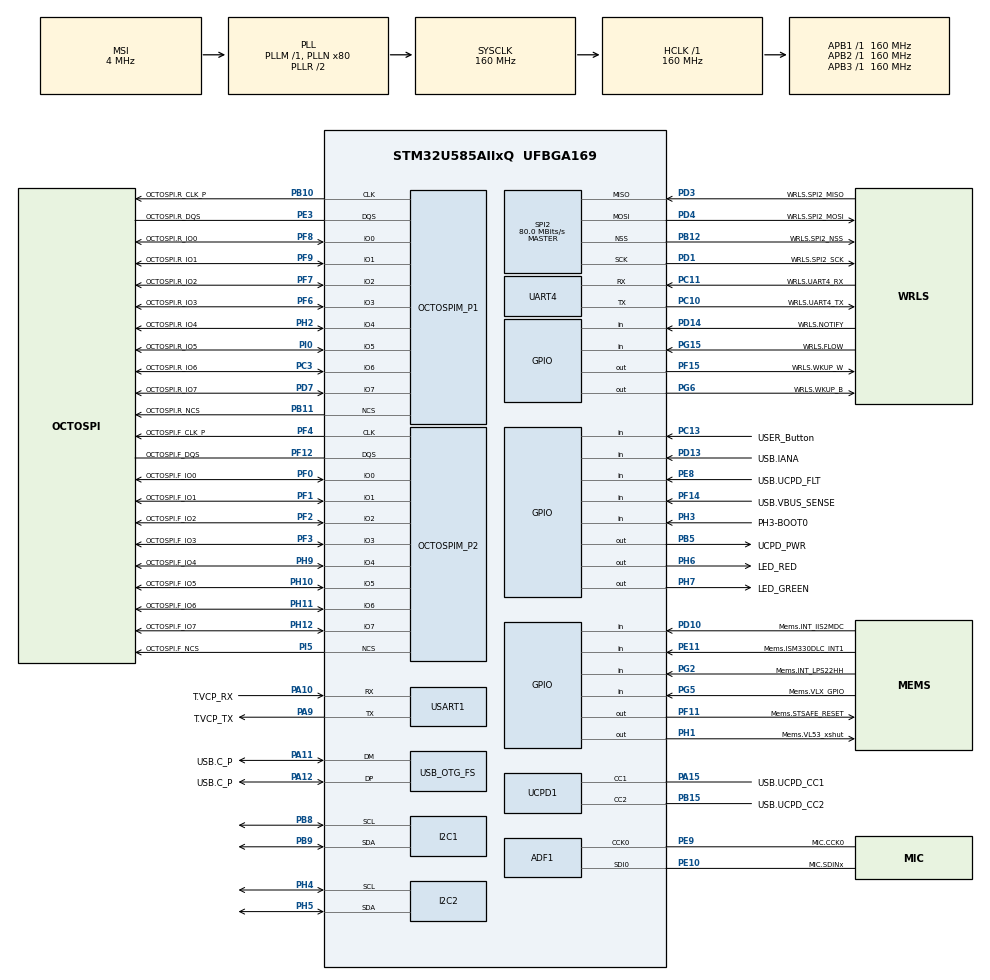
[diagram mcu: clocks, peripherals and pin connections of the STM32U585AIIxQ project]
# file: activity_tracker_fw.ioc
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CORTEX_M33_NS.userName=CORTEX_M33
I2C1.Timing=0x30909DEC
I2C2.Timing=0x30909DEC
Mcu.Family=STM32U5
Mcu.Name=STM32U585AIIxQ
Mcu.Package=UFBGA169
NVIC.PriorityGroup=NVIC_PRIORITYGROUP_4
OCTOSPI1.ChipSelectBoundary=10
OCTOSPI1.ClockPrescaler=2
OCTOSPI1.DelayBlockBypass=HAL_OSPI_DELAY_BLOCK_USED
OCTOSPI1.DelayHoldQuarterCycle=HAL_OSPI_DHQC_ENABLE
OCTOSPI1.DeviceSize=23
OCTOSPI1.MemoryType=HAL_OSPI_MEMTYPE_APMEMORY
OCTOSPI1.Refresh=100
OCTOSPI2.ChipSelectBoundary=0
OCTOSPI2.ChipSelectHighTime=2
OCTOSPI2.ClockPrescaler=4
OCTOSPI2.DelayBlockBypass=HAL_OSPI_DELAY_BLOCK_USED
OCTOSPI2.DelayHoldQuarterCycle=HAL_OSPI_DHQC_ENABLE
OCTOSPI2.DeviceSize=26
OCTOSPI2.FifoThreshold=4
OCTOSPI2.MemoryType=HAL_OSPI_MEMTYPE_MACRONIX
PA10.GPIO_Label=T.VCP_RX
PA10.Mode=Asynchronous
PA10.Signal=USART1_RX
PA11.GPIO_Label=USB.C_P
PA11.Mode=Device_Only
PA11.Signal=USB_OTG_FS_DM
PA12.GPIO_Label=USB.C_P
PA12.Mode=Device_Only
PA12.Signal=USB_OTG_FS_DP
PA13\ (JTMS/SWDIO).GPIO_Label=T.SWDIO
PA13\ (JTMS/SWDIO).Mode=Trace_Asynchronous_SW
PA13\ (JTMS/SWDIO).Signal=DEBUG_JTMS-SWDIO
PA14\ (JTCK/SWCLK).GPIO_Label=T.SWCLK
PA14\ (JTCK/SWCLK).Mode=Trace_Asynchronous_SW
PA14\ (JTCK/SWCLK).Signal=DEBUG_JTCK-SWCLK
PA15\ (JTDI).GPIO_Label=USB.UCPD_CC1
PA15\ (JTDI).Mode=Dual_Role_AllSignals
PA15\ (JTDI).Signal=UCPD1_CC1
PA9.GPIO_Label=T.VCP_TX
PA9.Mode=Asynchronous
PA9.Signal=USART1_TX
PB1.GPIO_Label=MIC.SDIN0
PB1.Signal=MDF1_SDI0
PB10.GPIO_Label=OCTOSPI.R_CLK_P
PB10.Mode=O1_P1_CLK
PB10.Signal=OCTOSPIM_P1_CLK
PB11.GPIO_Label=OCTOSPI.R_NCS
PB11.Mode=OCTOSPI1_Port1_NCS
PB11.Signal=OCTOSPIM_P1_NCS
PB12.GPIO_Label=WRLS.SPI2_NSS
PB12.Mode=NSS_Signal_Hard_Output
PB12.Signal=SPI2_NSS
PB15.GPIO_Label=USB.UCPD_CC2
PB15.Mode=Dual_Role_AllSignals
PB15.Signal=UCPD1_CC2
PB3\ (JTDO/TRACESWO).GPIO_Label=T.SWO
PB3\ (JTDO/TRACESWO).Mode=Trace_Asynchronous_SW
PB3\ (JTDO/TRACESWO).Signal=DEBUG_JTDO-SWO
PB5.GPIO_Label=UCPD_PWR
PB5.Signal=GPIO_Output
PB8.Mode=I2C
PB8.Signal=I2C1_SCL
PB9.Mode=I2C
PB9.Signal=I2C1_SDA
PC10.GPIO_Label=WRLS.UART4_TX
PC10.Mode=Asynchronous
PC10.Signal=UART4_TX
PC11.GPIO_Label=WRLS.UART4_RX
PC11.Mode=Asynchronous
PC11.Signal=UART4_RX
PC13.GPIO_Label=USER_Button
PC13.Signal=GPIO_Input
PC14-OSC32_IN\ (PC14).GPIO_Label=PC14-OSC32_IN
PC14-OSC32_IN\ (PC14).Mode=LSE-External-Oscillator
PC14-OSC32_IN\ (PC14).Signal=RCC_OSC32_IN
PC15-OSC32_OUT\ (PC15).GPIO_Label=PC15-OSC32_OUT
PC15-OSC32_OUT\ (PC15).Mode=LSE-External-Oscillator
PC15-OSC32_OUT\ (PC15).Signal=RCC_OSC32_OUT
PC3.GPIO_Label=OCTOSPI.R_IO6
PC3.Mode=OCTOSPI1_IOH_Port1H
PC3.Signal=OCTOSPIM_P1_IO6
PD1.GPIO_Label=WRLS.SPI2_SCK
PD1.Mode=Full_Duplex_Master
PD1.Signal=SPI2_SCK
PD10.GPIO_Label=Mems.INT_IIS2MDC
PD10.Signal=GPIO_Input
PD13.GPIO_Label=USB.IANA
PD13.Signal=GPIO_Input
PD14.GPIO_Label=WRLS.NOTIFY
PD14.Signal=GPIO_Input
PD3.GPIO_Label=WRLS.SPI2_MISO
PD3.Mode=Full_Duplex_Master
PD3.Signal=SPI2_MISO
PD4.GPIO_Label=WRLS.SPI2_MOSI
PD4.Mode=Full_Duplex_Master
PD4.Signal=SPI2_MOSI
PD7.GPIO_Label=OCTOSPI.R_IO7
PD7.Mode=OCTOSPI1_IOH_Port1H
PD7.Signal=OCTOSPIM_P1_IO7
PE10.GPIO_Label=MIC.SDINx
PE10.Mode=MOD_ADF_CCK
PE10.Signal=ADF1_SDI0
PE11.GPIO_Label=Mems.ISM330DLC_INT1
PE11.Signal=GPIO_Input
PE3.GPIO_Label=OCTOSPI.R_DQS
PE3.Mode=OCTOSPI1_Port1_DQS
PE3.Signal=OCTOSPIM_P1_DQS
PE8.GPIO_Label=USB.UCPD_FLT
PE8.Signal=GPIO_Input
PE9.GPIO_Label=MIC.CCK0
PE9.Mode=MOD_MDF_CCK0
PE9.Signal=ADF1_CCK0
PF0.GPIO_Label=OCTOSPI.F_IO0
PF0.Mode=OCTOSPI2_IOL_Port2L
PF0.Signal=OCTOSPIM_P2_IO0
PF1.GPIO_Label=OCTOSPI.F_IO1
PF1.Mode=OCTOSPI2_IOL_Port2L
PF1.Signal=OCTOSPIM_P2_IO1
PF10.GPIO_Label=MIC.CCK1
PF10.Signal=MDF1_CCK1
PF11.GPIO_Label=Mems.STSAFE_RESET
PF11.Signal=GPIO_Output
PF12.GPIO_Label=OCTOSPI.F_DQS
PF12.Mode=OCTOSPI2_Port2_DQS
PF12.Signal=OCTOSPIM_P2_DQS
PF14.GPIO_Label=USB.VBUS_SENSE
PF14.Signal=GPIO_Input
PF15.GPIO_Label=WRLS.WKUP_W
PF15.Signal=GPIO_Output
PF2.GPIO_Label=OCTOSPI.F_IO2
PF2.Mode=OCTOSPI2_IOL_Port2L
PF2.Signal=OCTOSPIM_P2_IO2
PF3.GPIO_Label=OCTOSPI.F_IO3
PF3.Mode=OCTOSPI2_IOL_Port2L
PF3.Signal=OCTOSPIM_P2_IO3
PF4.GPIO_Label=OCTOSPI.F_CLK_P
PF4.Mode=O2_P2_CLK
PF4.Signal=OCTOSPIM_P2_CLK
PF6.GPIO_Label=OCTOSPI.R_IO3
PF6.Mode=OCTOSPI1_IOL_Port1L
PF6.Signal=OCTOSPIM_P1_IO3
PF7.GPIO_Label=OCTOSPI.R_IO2
PF7.Mode=OCTOSPI1_IOL_Port1L
PF7.Signal=OCTOSPIM_P1_IO2
PF8.GPIO_Label=OCTOSPI.R_IO0
PF8.Mode=OCTOSPI1_IOL_Port1L
PF8.Signal=OCTOSPIM_P1_IO0
PF9.GPIO_Label=OCTOSPI.R_IO1
PF9.Mode=OCTOSPI1_IOL_Port1L
PF9.Signal=OCTOSPIM_P1_IO1
PG15.GPIO_Label=WRLS.FLOW
PG15.Signal=GPIO_Input
PG2.GPIO_Label=Mems.INT_LPS22HH
PG2.Signal=GPIO_Input
PG5.GPIO_Label=Mems.VLX_GPIO
PG5.Signal=GPIO_Input
PG6.GPIO_Label=WRLS.WKUP_B
PG6.Signal=GPIO_Output
PH1-OSC_OUT\ (PH1).GPIO_Label=Mems.VL53_xshut
PH1-OSC_OUT\ (PH1).Signal=GPIO_Output
PH10.GPIO_Label=OCTOSPI.F_IO5
PH10.Mode=OCTOSPI2_IOH_Port2H
PH10.Signal=OCTOSPIM_P2_IO5
PH11.GPIO_Label=OCTOSPI.F_IO6
PH11.Mode=OCTOSPI2_IOH_Port2H
PH11.Signal=OCTOSPIM_P2_IO6
PH12.GPIO_Label=OCTOSPI.F_IO7
PH12.Mode=OCTOSPI2_IOH_Port2H
PH12.Signal=OCTOSPIM_P2_IO7
PH2.GPIO_Label=OCTOSPI.R_IO4
PH2.Mode=OCTOSPI1_IOH_Port1H
PH2.Signal=OCTOSPIM_P1_IO4
PH3-BOOT0.GPIO_Label=PH3-BOOT0
PH3-BOOT0.Signal=GPIO_Input
PH4.Mode=I2C
PH4.Signal=I2C2_SCL
PH5.Mode=I2C
PH5.Signal=I2C2_SDA
PH6.GPIO_Label=LED_RED
PH6.Signal=GPIO_Output
PH7.GPIO_Label=LED_GREEN
PH7.Signal=GPIO_Output
PH9.GPIO_Label=OCTOSPI.F_IO4
PH9.Mode=OCTOSPI2_IOH_Port2H
PH9.Signal=OCTOSPIM_P2_IO4
PI0.GPIO_Label=OCTOSPI.R_IO5
PI0.Mode=OCTOSPI1_IOH_Port1H
PI0.Signal=OCTOSPIM_P1_IO5
PI5.GPIO_Label=OCTOSPI.F_NCS
PI5.Mode=OCTOSPI2_Port2_NCS
PI5.Signal=OCTOSPIM_P2_NCS
PWR.PowerMode=PWR_SMPS_SUPPLY
ProjectManager.HeapSize=0x200
ProjectManager.StackSize=0x400
ProjectManager.TargetToolchain=STM32CubeIDE
RCC.ADCFreq_Value=16000000
RCC.AHBFreq_Value=160000000
RCC.APB1Freq_Value=160000000
RCC.APB1TimFreq_Value=160000000
RCC.APB2Freq_Value=160000000
RCC.APB2TimFreq_Value=160000000
RCC.APB3Freq_Value=160000000
RCC.CortexFreq_Value=160000000
RCC.DACCLockSelectionVirtual=RCC_DAC1CLKSOURCE_LSI
RCC.EPOD_VALUE=4000000
RCC.HCLKFreq_Value=160000000
RCC.HSE_VALUE=16000000
RCC.HSI48_VALUE=48000000
RCC.HSI_VALUE=16000000
RCC.LSIDIV_VALUE=32000
RCC.MSI_VALUE=4000000
RCC.PLLN=80
RCC.SYSCLKFreq_VALUE=160000000
RCC.SYSCLKSource=RCC_SYSCLKSOURCE_PLLCLK
RCC.USBFreq_Value=48000000
RCC.VCOOutputFreq_Value=320000000
SPI2.CalculateBaudRate=80.0 MBits/s
SPI2.Direction=SPI_DIRECTION_2LINES
SPI2.Mode=SPI_MODE_MASTER
SPI2.VirtualNSS=VM_NSSHARD
SPI2.VirtualType=VM_MASTER
USART1.VirtualMode-Asynchronous=VM_ASYNC
USB_OTG_FS.VirtualMode=Device_Only
VP_ICACHE_VS_ICACHE.Mode=DirectMappedCache
VP_LPBAMQUEUE_VS_QUEUE.Mode=QUEUEMODE
VP_LPBAM_VS_SIG1.Mode=SmartRun
VP_LPBAM_VS_SIG4.Mode=LPDMA1
VP_OCTOSPI1_VS_octo.Mode=octo_mode
VP_OCTOSPI2_VS_octo.Mode=octo_mode
VP_PWR_VS_DBSignals.Mode=DisableDeadBatterySignals
VP_PWR_VS_LPOM.Mode=PowerOptimisation
VP_PWR_VS_SECSignals.Mode=Security/Privilege
board=B-U585I-IOT02A

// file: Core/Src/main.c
/* USER CODE BEGIN Header */
/**
 ******************************************************************************
 * @file           : main.c
 * @brief          : Main program body
 ******************************************************************************
 * @attention
 *
 * Copyright (c) 2026 STMicroelectronics.
 * All rights reserved.
 *
 * This software is licensed under terms that can be found in the LICENSE file
 * in the root directory of this software component.
 * If no LICENSE file comes with this software, it is provided AS-IS.
 *
 ******************************************************************************
 */
/* USER CODE END Header */
#include "main.h"

/* USER CODE BEGIN Includes */
#include <stdio.h>
#include "ism330dhcx_reg.h"
/* USER CODE END Includes */

MDF_HandleTypeDef AdfHandle0;
MDF_FilterConfigTypeDef AdfFilterConfig0;

I2C_HandleTypeDef hi2c1;
I2C_HandleTypeDef hi2c2;

OSPI_HandleTypeDef hospi1;
OSPI_HandleTypeDef hospi2;

SPI_HandleTypeDef hspi2;

UART_HandleTypeDef huart4;
UART_HandleTypeDef huart1;

PCD_HandleTypeDef hpcd_USB_OTG_FS;

/* USER CODE BEGIN PV */
#define IMU_I2C   hi2c2
#define IMU_ADDR  (0x6B << 1)

static stmdev_ctx_t imu_ctx;

/* Sampling is paced by the sensor's own data-ready line (INT1 -> PE11).
   The ISR only bumps imu_drdy_count; imu_drdy_served is what the main loop
   has already consumed, so the gap between them exposes samples we did not
   keep up with. A 32-bit load is atomic on Cortex-M33, no locking needed. */
static volatile uint32_t imu_drdy_count = 0;
static uint32_t imu_drdy_served = 0;
static uint32_t imu_missed = 0;

static int32_t imu_write(void *h, uint8_t reg, uint8_t *buf, uint16_t len) {
	return (HAL_I2C_Mem_Write(&IMU_I2C, IMU_ADDR, reg, I2C_MEMADD_SIZE_8BIT,
			buf, len, 100) == HAL_OK) ? 0 : -1;
}

static int32_t imu_read(void *h, uint8_t reg, uint8_t *buf, uint16_t len) {
	return (HAL_I2C_Mem_Read(&IMU_I2C, IMU_ADDR, reg, I2C_MEMADD_SIZE_8BIT, buf,
			len, 100) == HAL_OK) ? 0 : -1;
}

static void imu_init(void) {
	uint8_t whoami = 0, rst = 1;

	imu_ctx.write_reg = imu_write;
	imu_ctx.read_reg = imu_read;
	imu_ctx.mdelay = HAL_Delay;
	imu_ctx.handle = NULL;

	HAL_Delay(15);
	ism330dhcx_device_id_get(&imu_ctx, &whoami);
	printf("WHO_AM_I = 0x%02X (expected 0x%02X)\r\n", whoami, ISM330DHCX_ID);
	if (whoami != ISM330DHCX_ID) {
		printf("IMU not found\r\n");
		Error_Handler();
	}

	ism330dhcx_reset_set(&imu_ctx, PROPERTY_ENABLE);
	do {
		ism330dhcx_reset_get(&imu_ctx, &rst);
	} while (rst);

	ism330dhcx_block_data_update_set(&imu_ctx, PROPERTY_ENABLE);
	ism330dhcx_xl_full_scale_set(&imu_ctx, ISM330DHCX_4g);
	ism330dhcx_gy_full_scale_set(&imu_ctx, ISM330DHCX_2000dps);
	ism330dhcx_xl_data_rate_set(&imu_ctx, ISM330DHCX_XL_ODR_26Hz);
	ism330dhcx_gy_data_rate_set(&imu_ctx, ISM330DHCX_GY_ODR_26Hz);

	/* Drive accelerometer data-ready out on INT1 (INT1_CTRL, int1_drdy_xl)
	   as a short pulse, which is what an edge-triggered EXTI line wants. */
	ism330dhcx_pin_int1_route_t int1_route;
	ism330dhcx_pin_int1_route_get(&imu_ctx, &int1_route);
	int1_route.int1_ctrl.int1_drdy_xl = PROPERTY_ENABLE;
	ism330dhcx_pin_int1_route_set(&imu_ctx, &int1_route);
	ism330dhcx_data_ready_mode_set(&imu_ctx, ISM330DHCX_DRDY_PULSED);
}

static void put_ms2(int32_t mm_s2)
{
	  if (mm_s2 < 0) { printf("-"); mm_s2 = -mm_s2; }
	  printf("%ld.%03ld", (long)(mm_s2 / 1000), (long)(mm_s2 % 1000));
}
/* USER CODE END PV */

void SystemClock_Config(void);
static void SystemPower_Config(void);
static void MX_GPIO_Init(void);
static void MX_ADF1_Init(void);
static void MX_I2C1_Init(void);
static void MX_I2C2_Init(void);
static void MX_ICACHE_Init(void);
static void MX_OCTOSPI1_Init(void);
static void MX_OCTOSPI2_Init(void);
static void MX_SPI2_Init(void);
static void MX_UART4_Init(void);
static void MX_USART1_UART_Init(void);
static void MX_UCPD1_Init(void);
static void MX_USB_OTG_FS_PCD_Init(void);

int main(void) {

	/* MCU Configuration--------------------------------------------------------*/

	/* Reset of all peripherals, Initializes the Flash interface and the Systick. */
	HAL_Init();

	/* Configure the System Power */
	SystemPower_Config();

	/* Configure the system clock */
	SystemClock_Config();

	/* Initialize all configured peripherals */
	MX_GPIO_Init();
	MX_ADF1_Init();
	MX_I2C1_Init();
	MX_I2C2_Init();
	MX_ICACHE_Init();
	MX_OCTOSPI1_Init();
	MX_OCTOSPI2_Init();
	MX_SPI2_Init();
	MX_UART4_Init();
	MX_USART1_UART_Init();
	MX_UCPD1_Init();
	MX_USB_OTG_FS_PCD_Init();
	/* USER CODE BEGIN 2 */
	setvbuf(stdout, NULL, _IONBF, 0);
	printf("Start\r\n");
	imu_init();

	/* Unmask the line only once the sensor is configured, so none of the
	   writes above can leave a stale edge pending. */
	__HAL_GPIO_EXTI_CLEAR_RISING_IT(Mems_ISM330DLC_INT1_Pin);
	HAL_NVIC_SetPriority(EXTI11_IRQn, 5, 0);
	HAL_NVIC_EnableIRQ(EXTI11_IRQn);

	printf("timestamp_ms,ax,ay,az,gx,gy,gz\r\n");
	/* USER CODE END 2 */

	/* Infinite loop */
	while (1) {

		/* USER CODE BEGIN 3 */
	    uint32_t drdy_now = imu_drdy_count;

	    if (drdy_now != imu_drdy_served) {
	      uint32_t pending = drdy_now - imu_drdy_served;
	      imu_drdy_served = drdy_now;

	      /* Only the newest sample is still in the output registers, so every
	         interrupt beyond the one we are about to read is a sample we lost.
	         Reported on its own line, which tools/log.py skips. */
	      if (pending > 1) {
	        imu_missed += pending - 1;
	        printf("# missed %lu\r\n", (unsigned long) imu_missed);
	      }

	      int16_t a_raw[3], g_raw[3];
	      int32_t a[3], g[3];
	      ism330dhcx_acceleration_raw_get(&imu_ctx, a_raw);
	      ism330dhcx_angular_rate_raw_get(&imu_ctx, g_raw);
	      for (int i = 0; i < 3; i++) {
	        a[i] = (int32_t)(ism330dhcx_from_fs4g_to_mg(a_raw[i]) * 9.80665f);
	        g[i] = (int32_t)ism330dhcx_from_fs2000dps_to_mdps(g_raw[i]);
	      }
	      printf("%lu,", HAL_GetTick());
	      put_ms2(a[0]); printf(",");
	      put_ms2(a[1]); printf(",");
	      put_ms2(a[2]); printf(",");
	      put_ms2(g[0]); printf(",");   /* mdps -> dps */
	      put_ms2(g[1]); printf(",");
	      put_ms2(g[2]); printf("\r\n");
	    }
	  }
	/* USER CODE END 3 */
}

void SystemClock_Config(void) {
	RCC_OscInitTypeDef RCC_OscInitStruct = { 0 };
	RCC_ClkInitTypeDef RCC_ClkInitStruct = { 0 };

	/** Configure the main internal regulator output voltage
	 */
	if (HAL_PWREx_ControlVoltageScaling(PWR_REGULATOR_VOLTAGE_SCALE1)
			!= HAL_OK) {
		Error_Handler();
	}

	/** Initializes the CPU, AHB and APB buses clocks
	 */
	RCC_OscInitStruct.OscillatorType = RCC_OSCILLATORTYPE_HSI48
			| RCC_OSCILLATORTYPE_HSI | RCC_OSCILLATORTYPE_MSI;
	RCC_OscInitStruct.HSIState = RCC_HSI_ON;
	RCC_OscInitStruct.HSI48State = RCC_HSI48_ON;
	RCC_OscInitStruct.HSICalibrationValue = RCC_HSICALIBRATION_DEFAULT;
	RCC_OscInitStruct.MSIState = RCC_MSI_ON;
	RCC_OscInitStruct.MSICalibrationValue = RCC_MSICALIBRATION_DEFAULT;
	RCC_OscInitStruct.MSIClockRange = RCC_MSIRANGE_4;
	RCC_OscInitStruct.PLL.PLLState = RCC_PLL_ON;
	RCC_OscInitStruct.PLL.PLLSource = RCC_PLLSOURCE_MSI;
	RCC_OscInitStruct.PLL.PLLMBOOST = RCC_PLLMBOOST_DIV1;
	RCC_OscInitStruct.PLL.PLLM = 1;
	RCC_OscInitStruct.PLL.PLLN = 80;
	RCC_OscInitStruct.PLL.PLLP = 2;
	RCC_OscInitStruct.PLL.PLLQ = 2;
	RCC_OscInitStruct.PLL.PLLR = 2;
	RCC_OscInitStruct.PLL.PLLRGE = RCC_PLLVCIRANGE_0;
	RCC_OscInitStruct.PLL.PLLFRACN = 0;
	if (HAL_RCC_OscConfig(&RCC_OscInitStruct) != HAL_OK) {
		Error_Handler();
	}

	/** Initializes the CPU, AHB and APB buses clocks
	 */
	RCC_ClkInitStruct.ClockType = RCC_CLOCKTYPE_HCLK | RCC_CLOCKTYPE_SYSCLK
			| RCC_CLOCKTYPE_PCLK1 | RCC_CLOCKTYPE_PCLK2 | RCC_CLOCKTYPE_PCLK3;
	RCC_ClkInitStruct.SYSCLKSource = RCC_SYSCLKSOURCE_PLLCLK;
	RCC_ClkInitStruct.AHBCLKDivider = RCC_SYSCLK_DIV1;
	RCC_ClkInitStruct.APB1CLKDivider = RCC_HCLK_DIV1;
	RCC_ClkInitStruct.APB2CLKDivider = RCC_HCLK_DIV1;
	RCC_ClkInitStruct.APB3CLKDivider = RCC_HCLK_DIV1;

	if (HAL_RCC_ClockConfig(&RCC_ClkInitStruct, FLASH_LATENCY_4) != HAL_OK) {
		Error_Handler();
	}
}

/**
 * @brief Power Configuration
 * @retval None
 */
static void SystemPower_Config(void) {
	HAL_PWREx_EnableVddIO2();

	/*
	 * Switch to SMPS regulator instead of LDO
	 */
	if (HAL_PWREx_ConfigSupply(PWR_SMPS_SUPPLY) != HAL_OK) {
		Error_Handler();
	}
}

static void MX_ADF1_Init(void) {

	/**
	 AdfHandle0 structure initialization and HAL_MDF_Init function call
	 */
	AdfHandle0.Instance = ADF1_Filter0;
	AdfHandle0.Init.CommonParam.ProcClockDivider = 1;
	AdfHandle0.Init.CommonParam.OutputClock.Activation = DISABLE;
	AdfHandle0.Init.SerialInterface.Activation = ENABLE;
	AdfHandle0.Init.SerialInterface.Mode = MDF_SITF_LF_MASTER_SPI_MODE;
	AdfHandle0.Init.SerialInterface.ClockSource = MDF_SITF_CCK0_SOURCE;
	AdfHandle0.Init.SerialInterface.Threshold = 4;
	AdfHandle0.Init.FilterBistream = MDF_BITSTREAM0_FALLING;
	if (HAL_MDF_Init(&AdfHandle0) != HAL_OK) {
		Error_Handler();
	}

	/**
	 AdfFilterConfig0 structure initialization

	 WARNING : only structure is filled, no specific init function call for filter
	 */
	AdfFilterConfig0.DataSource = MDF_DATA_SOURCE_BSMX;
	AdfFilterConfig0.Delay = 0;
	AdfFilterConfig0.CicMode = MDF_ONE_FILTER_SINC4;
	AdfFilterConfig0.DecimationRatio = 2;
	AdfFilterConfig0.Gain = 0;
	AdfFilterConfig0.ReshapeFilter.Activation = DISABLE;
	AdfFilterConfig0.HighPassFilter.Activation = DISABLE;
	AdfFilterConfig0.SoundActivity.Activation = DISABLE;
	AdfFilterConfig0.AcquisitionMode = MDF_MODE_ASYNC_CONT;
	AdfFilterConfig0.FifoThreshold = MDF_FIFO_THRESHOLD_NOT_EMPTY;
	AdfFilterConfig0.DiscardSamples = 0;

}

static void MX_I2C1_Init(void) {

	hi2c1.Instance = I2C1;
	hi2c1.Init.Timing = 0x30909DEC;
	hi2c1.Init.OwnAddress1 = 0;
	hi2c1.Init.AddressingMode = I2C_ADDRESSINGMODE_7BIT;
	hi2c1.Init.DualAddressMode = I2C_DUALADDRESS_DISABLE;
	hi2c1.Init.OwnAddress2 = 0;
	hi2c1.Init.OwnAddress2Masks = I2C_OA2_NOMASK;
	hi2c1.Init.GeneralCallMode = I2C_GENERALCALL_DISABLE;
	hi2c1.Init.NoStretchMode = I2C_NOSTRETCH_DISABLE;
	if (HAL_I2C_Init(&hi2c1) != HAL_OK) {
		Error_Handler();
	}

	/** Configure Analogue filter
	 */
	if (HAL_I2CEx_ConfigAnalogFilter(&hi2c1, I2C_ANALOGFILTER_ENABLE)
			!= HAL_OK) {
		Error_Handler();
	}

	/** Configure Digital filter
	 */
	if (HAL_I2CEx_ConfigDigitalFilter(&hi2c1, 0) != HAL_OK) {
		Error_Handler();
	}

}

static void MX_I2C2_Init(void) {

	hi2c2.Instance = I2C2;
	hi2c2.Init.Timing = 0x30909DEC;
	hi2c2.Init.OwnAddress1 = 0;
	hi2c2.Init.AddressingMode = I2C_ADDRESSINGMODE_7BIT;
	hi2c2.Init.DualAddressMode = I2C_DUALADDRESS_DISABLE;
	hi2c2.Init.OwnAddress2 = 0;
	hi2c2.Init.OwnAddress2Masks = I2C_OA2_NOMASK;
	hi2c2.Init.GeneralCallMode = I2C_GENERALCALL_DISABLE;
	hi2c2.Init.NoStretchMode = I2C_NOSTRETCH_DISABLE;
	if (HAL_I2C_Init(&hi2c2) != HAL_OK) {
		Error_Handler();
	}

	/** Configure Analogue filter
	 */
	if (HAL_I2CEx_ConfigAnalogFilter(&hi2c2, I2C_ANALOGFILTER_ENABLE)
			!= HAL_OK) {
		Error_Handler();
	}

	/** Configure Digital filter
	 */
	if (HAL_I2CEx_ConfigDigitalFilter(&hi2c2, 0) != HAL_OK) {
		Error_Handler();
	}

}

static void MX_ICACHE_Init(void) {

	/** Enable instruction cache in 1-way (direct mapped cache)
	 */
	if (HAL_ICACHE_ConfigAssociativityMode(ICACHE_1WAY) != HAL_OK) {
		Error_Handler();
	}
	if (HAL_ICACHE_Enable() != HAL_OK) {
		Error_Handler();
	}

}

static void MX_OCTOSPI1_Init(void) {

	OSPIM_CfgTypeDef sOspiManagerCfg = { 0 };
	HAL_OSPI_DLYB_CfgTypeDef HAL_OSPI_DLYB_Cfg_Struct = { 0 };

	/* OCTOSPI1 parameter configuration*/
	hospi1.Instance = OCTOSPI1;
	hospi1.Init.FifoThreshold = 1;
	hospi1.Init.DualQuad = HAL_OSPI_DUALQUAD_DISABLE;
	hospi1.Init.MemoryType = HAL_OSPI_MEMTYPE_APMEMORY;
	hospi1.Init.DeviceSize = 23;
	hospi1.Init.ChipSelectHighTime = 1;
	hospi1.Init.FreeRunningClock = HAL_OSPI_FREERUNCLK_DISABLE;
	hospi1.Init.ClockMode = HAL_OSPI_CLOCK_MODE_0;
	hospi1.Init.WrapSize = HAL_OSPI_WRAP_NOT_SUPPORTED;
	hospi1.Init.ClockPrescaler = 2;
	hospi1.Init.SampleShifting = HAL_OSPI_SAMPLE_SHIFTING_NONE;
	hospi1.Init.DelayHoldQuarterCycle = HAL_OSPI_DHQC_ENABLE;
	hospi1.Init.ChipSelectBoundary = 10;
	hospi1.Init.DelayBlockBypass = HAL_OSPI_DELAY_BLOCK_USED;
	hospi1.Init.MaxTran = 0;
	hospi1.Init.Refresh = 100;
	if (HAL_OSPI_Init(&hospi1) != HAL_OK) {
		Error_Handler();
	}
	sOspiManagerCfg.ClkPort = 1;
	sOspiManagerCfg.DQSPort = 1;
	sOspiManagerCfg.NCSPort = 1;
	sOspiManagerCfg.IOLowPort = HAL_OSPIM_IOPORT_1_LOW;
	sOspiManagerCfg.IOHighPort = HAL_OSPIM_IOPORT_1_HIGH;
	if (HAL_OSPIM_Config(&hospi1, &sOspiManagerCfg,
	HAL_OSPI_TIMEOUT_DEFAULT_VALUE) != HAL_OK) {
		Error_Handler();
	}
	HAL_OSPI_DLYB_Cfg_Struct.Units = 0;
	HAL_OSPI_DLYB_Cfg_Struct.PhaseSel = 0;
	if (HAL_OSPI_DLYB_SetConfig(&hospi1, &HAL_OSPI_DLYB_Cfg_Struct) != HAL_OK) {
		Error_Handler();
	}

}

static void MX_OCTOSPI2_Init(void) {

	OSPIM_CfgTypeDef sOspiManagerCfg = { 0 };
	HAL_OSPI_DLYB_CfgTypeDef HAL_OSPI_DLYB_Cfg_Struct = { 0 };

	/* OCTOSPI2 parameter configuration*/
	hospi2.Instance = OCTOSPI2;
	hospi2.Init.FifoThreshold = 4;
	hospi2.Init.DualQuad = HAL_OSPI_DUALQUAD_DISABLE;
	hospi2.Init.MemoryType = HAL_OSPI_MEMTYPE_MACRONIX;
	hospi2.Init.DeviceSize = 26;
	hospi2.Init.ChipSelectHighTime = 2;
	hospi2.Init.FreeRunningClock = HAL_OSPI_FREERUNCLK_DISABLE;
	hospi2.Init.ClockMode = HAL_OSPI_CLOCK_MODE_0;
	hospi2.Init.WrapSize = HAL_OSPI_WRAP_NOT_SUPPORTED;
	hospi2.Init.ClockPrescaler = 4;
	hospi2.Init.SampleShifting = HAL_OSPI_SAMPLE_SHIFTING_NONE;
	hospi2.Init.DelayHoldQuarterCycle = HAL_OSPI_DHQC_ENABLE;
	hospi2.Init.ChipSelectBoundary = 0;
	hospi2.Init.DelayBlockBypass = HAL_OSPI_DELAY_BLOCK_USED;
	hospi2.Init.MaxTran = 0;
	hospi2.Init.Refresh = 0;
	if (HAL_OSPI_Init(&hospi2) != HAL_OK) {
		Error_Handler();
	}
	sOspiManagerCfg.ClkPort = 2;
	sOspiManagerCfg.DQSPort = 2;
	sOspiManagerCfg.NCSPort = 2;
	sOspiManagerCfg.IOLowPort = HAL_OSPIM_IOPORT_2_LOW;
	sOspiManagerCfg.IOHighPort = HAL_OSPIM_IOPORT_2_HIGH;
	if (HAL_OSPIM_Config(&hospi2, &sOspiManagerCfg,
	HAL_OSPI_TIMEOUT_DEFAULT_VALUE) != HAL_OK) {
		Error_Handler();
	}
	HAL_OSPI_DLYB_Cfg_Struct.Units = 0;
	HAL_OSPI_DLYB_Cfg_Struct.PhaseSel = 0;
	if (HAL_OSPI_DLYB_SetConfig(&hospi2, &HAL_OSPI_DLYB_Cfg_Struct) != HAL_OK) {
		Error_Handler();
	}

}

static void MX_SPI2_Init(void) {

	SPI_AutonomousModeConfTypeDef HAL_SPI_AutonomousMode_Cfg_Struct = { 0 };

	/* SPI2 parameter configuration*/
	hspi2.Instance = SPI2;
	hspi2.Init.Mode = SPI_MODE_MASTER;
	hspi2.Init.Direction = SPI_DIRECTION_2LINES;
	hspi2.Init.DataSize = SPI_DATASIZE_4BIT;
	hspi2.Init.CLKPolarity = SPI_POLARITY_LOW;
	hspi2.Init.CLKPhase = SPI_PHASE_1EDGE;
	hspi2.Init.NSS = SPI_NSS_HARD_OUTPUT;
	hspi2.Init.BaudRatePrescaler = SPI_BAUDRATEPRESCALER_2;
	hspi2.Init.FirstBit = SPI_FIRSTBIT_MSB;
	hspi2.Init.TIMode = SPI_TIMODE_DISABLE;
	hspi2.Init.CRCCalculation = SPI_CRCCALCULATION_DISABLE;
	hspi2.Init.CRCPolynomial = 0x7;
	hspi2.Init.NSSPMode = SPI_NSS_PULSE_ENABLE;
	hspi2.Init.NSSPolarity = SPI_NSS_POLARITY_LOW;
	hspi2.Init.FifoThreshold = SPI_FIFO_THRESHOLD_01DATA;
	hspi2.Init.MasterSSIdleness = SPI_MASTER_SS_IDLENESS_00CYCLE;
	hspi2.Init.MasterInterDataIdleness = SPI_MASTER_INTERDATA_IDLENESS_00CYCLE;
	hspi2.Init.MasterReceiverAutoSusp = SPI_MASTER_RX_AUTOSUSP_DISABLE;
	hspi2.Init.MasterKeepIOState = SPI_MASTER_KEEP_IO_STATE_DISABLE;
	hspi2.Init.IOSwap = SPI_IO_SWAP_DISABLE;
	hspi2.Init.ReadyMasterManagement = SPI_RDY_MASTER_MANAGEMENT_INTERNALLY;
	hspi2.Init.ReadyPolarity = SPI_RDY_POLARITY_HIGH;
	if (HAL_SPI_Init(&hspi2) != HAL_OK) {
		Error_Handler();
	}
	HAL_SPI_AutonomousMode_Cfg_Struct.TriggerState = SPI_AUTO_MODE_DISABLE;
	HAL_SPI_AutonomousMode_Cfg_Struct.TriggerSelection =
	SPI_GRP1_GPDMA_CH0_TCF_TRG;
	HAL_SPI_AutonomousMode_Cfg_Struct.TriggerPolarity =
	SPI_TRIG_POLARITY_RISING;
	if (HAL_SPIEx_SetConfigAutonomousMode(&hspi2,
			&HAL_SPI_AutonomousMode_Cfg_Struct) != HAL_OK) {
		Error_Handler();
	}

}

static void MX_UART4_Init(void) {

	huart4.Instance = UART4;
	huart4.Init.BaudRate = 115200;
	huart4.Init.WordLength = UART_WORDLENGTH_8B;
	huart4.Init.StopBits = UART_STOPBITS_1;
	huart4.Init.Parity = UART_PARITY_NONE;
	huart4.Init.Mode = UART_MODE_TX_RX;
	huart4.Init.HwFlowCtl = UART_HWCONTROL_NONE;
	huart4.Init.OverSampling = UART_OVERSAMPLING_16;
	huart4.Init.OneBitSampling = UART_ONE_BIT_SAMPLE_DISABLE;
	huart4.Init.ClockPrescaler = UART_PRESCALER_DIV1;
	huart4.AdvancedInit.AdvFeatureInit = UART_ADVFEATURE_NO_INIT;
	if (HAL_UART_Init(&huart4) != HAL_OK) {
		Error_Handler();
	}
	if (HAL_UARTEx_SetTxFifoThreshold(&huart4, UART_TXFIFO_THRESHOLD_1_8)
			!= HAL_OK) {
		Error_Handler();
	}
	if (HAL_UARTEx_SetRxFifoThreshold(&huart4, UART_RXFIFO_THRESHOLD_1_8)
			!= HAL_OK) {
		Error_Handler();
	}
	if (HAL_UARTEx_DisableFifoMode(&huart4) != HAL_OK) {
		Error_Handler();
	}

}

static void MX_USART1_UART_Init(void) {

	huart1.Instance = USART1;
	huart1.Init.BaudRate = 115200;
	huart1.Init.WordLength = UART_WORDLENGTH_8B;
	huart1.Init.StopBits = UART_STOPBITS_1;
	huart1.Init.Parity = UART_PARITY_NONE;
	huart1.Init.Mode = UART_MODE_TX_RX;
	huart1.Init.HwFlowCtl = UART_HWCONTROL_NONE;
	huart1.Init.OverSampling = UART_OVERSAMPLING_16;
	huart1.Init.OneBitSampling = UART_ONE_BIT_SAMPLE_DISABLE;
	huart1.Init.ClockPrescaler = UART_PRESCALER_DIV1;
	huart1.AdvancedInit.AdvFeatureInit = UART_ADVFEATURE_NO_INIT;
	if (HAL_UART_Init(&huart1) != HAL_OK) {
		Error_Handler();
	}
	if (HAL_UARTEx_SetTxFifoThreshold(&huart1, UART_TXFIFO_THRESHOLD_1_8)
			!= HAL_OK) {
		Error_Handler();
	}
	if (HAL_UARTEx_SetRxFifoThreshold(&huart1, UART_RXFIFO_THRESHOLD_1_8)
			!= HAL_OK) {
		Error_Handler();
	}
	if (HAL_UARTEx_DisableFifoMode(&huart1) != HAL_OK) {
		Error_Handler();
	}

}

static void MX_UCPD1_Init(void) {

	LL_GPIO_InitTypeDef GPIO_InitStruct = { 0 };

	/* Peripheral clock enable */
	LL_APB1_GRP2_EnableClock(LL_APB1_GRP2_PERIPH_UCPD1);

	LL_AHB2_GRP1_EnableClock(LL_AHB2_GRP1_PERIPH_GPIOA);
	LL_AHB2_GRP1_EnableClock(LL_AHB2_GRP1_PERIPH_GPIOB);
	/**UCPD1 GPIO Configuration
	 PA15 (JTDI)   ------> UCPD1_CC1
	 PB15   ------> UCPD1_CC2
	 */
	GPIO_InitStruct.Pin = LL_GPIO_PIN_15;
	GPIO_InitStruct.Mode = LL_GPIO_MODE_ANALOG;
	GPIO_InitStruct.Pull = LL_GPIO_PULL_NO;
	LL_GPIO_Init(GPIOA, &GPIO_InitStruct);

	GPIO_InitStruct.Pin = LL_GPIO_PIN_15;
	GPIO_InitStruct.Mode = LL_GPIO_MODE_ANALOG;
	GPIO_InitStruct.Pull = LL_GPIO_PULL_NO;
	LL_GPIO_Init(GPIOB, &GPIO_InitStruct);

}

static void MX_USB_OTG_FS_PCD_Init(void) {

	hpcd_USB_OTG_FS.Instance = USB_OTG_FS;
	hpcd_USB_OTG_FS.Init.dev_endpoints = 6;
	hpcd_USB_OTG_FS.Init.speed = PCD_SPEED_FULL;
	hpcd_USB_OTG_FS.Init.phy_itface = PCD_PHY_EMBEDDED;
	hpcd_USB_OTG_FS.Init.Sof_enable = DISABLE;
	hpcd_USB_OTG_FS.Init.low_power_enable = DISABLE;
	hpcd_USB_OTG_FS.Init.lpm_enable = DISABLE;
	hpcd_USB_OTG_FS.Init.battery_charging_enable = DISABLE;
	hpcd_USB_OTG_FS.Init.use_dedicated_ep1 = DISABLE;
	hpcd_USB_OTG_FS.Init.vbus_sensing_enable = DISABLE;
	hpcd_USB_OTG_FS.Init.dma_enable = DISABLE;
	if (HAL_PCD_Init(&hpcd_USB_OTG_FS) != HAL_OK) {
		Error_Handler();
	}

}

static void MX_GPIO_Init(void) {
	GPIO_InitTypeDef GPIO_InitStruct = { 0 };

	/* GPIO Ports Clock Enable */
	__HAL_RCC_GPIOG_CLK_ENABLE();
	__HAL_RCC_GPIOC_CLK_ENABLE();
	__HAL_RCC_GPIOA_CLK_ENABLE();
	__HAL_RCC_GPIOI_CLK_ENABLE();
	__HAL_RCC_GPIOH_CLK_ENABLE();
	__HAL_RCC_GPIOB_CLK_ENABLE();
	__HAL_RCC_GPIOD_CLK_ENABLE();
	__HAL_RCC_GPIOE_CLK_ENABLE();
	__HAL_RCC_GPIOF_CLK_ENABLE();

	/*Configure GPIO pin Output Level */
	HAL_GPIO_WritePin(UCPD_PWR_GPIO_Port, UCPD_PWR_Pin, GPIO_PIN_RESET);

	/*Configure GPIO pin Output Level */
	HAL_GPIO_WritePin(GPIOH, LED_RED_Pin | LED_GREEN_Pin | Mems_VL53_xshut_Pin,
			GPIO_PIN_RESET);

	/*Configure GPIO pin Output Level */
	HAL_GPIO_WritePin(WRLS_WKUP_B_GPIO_Port, WRLS_WKUP_B_Pin, GPIO_PIN_RESET);

	/*Configure GPIO pin Output Level */
	HAL_GPIO_WritePin(GPIOF, Mems_STSAFE_RESET_Pin | WRLS_WKUP_W_Pin,
			GPIO_PIN_RESET);

	/*Configure GPIO pins : WRLS_FLOW_Pin Mems_VLX_GPIO_Pin Mems_INT_LPS22HH_Pin */
	GPIO_InitStruct.Pin = WRLS_FLOW_Pin | Mems_VLX_GPIO_Pin
			| Mems_INT_LPS22HH_Pin;
	GPIO_InitStruct.Mode = GPIO_MODE_INPUT;
	GPIO_InitStruct.Pull = GPIO_NOPULL;
	HAL_GPIO_Init(GPIOG, &GPIO_InitStruct);

	/*Configure GPIO pin : PH3_BOOT0_Pin */
	GPIO_InitStruct.Pin = PH3_BOOT0_Pin;
	GPIO_InitStruct.Mode = GPIO_MODE_INPUT;
	GPIO_InitStruct.Pull = GPIO_NOPULL;
	HAL_GPIO_Init(PH3_BOOT0_GPIO_Port, &GPIO_InitStruct);

	/*Configure GPIO pin : UCPD_PWR_Pin */
	GPIO_InitStruct.Pin = UCPD_PWR_Pin;
	GPIO_InitStruct.Mode = GPIO_MODE_OUTPUT_PP;
	GPIO_InitStruct.Pull = GPIO_NOPULL;
	GPIO_InitStruct.Speed = GPIO_SPEED_FREQ_LOW;
	HAL_GPIO_Init(UCPD_PWR_GPIO_Port, &GPIO_InitStruct);

	/*Configure GPIO pin : USER_Button_Pin */
	GPIO_InitStruct.Pin = USER_Button_Pin;
	GPIO_InitStruct.Mode = GPIO_MODE_INPUT;
	GPIO_InitStruct.Pull = GPIO_NOPULL;
	HAL_GPIO_Init(USER_Button_GPIO_Port, &GPIO_InitStruct);

	/*Configure GPIO pins : LED_RED_Pin LED_GREEN_Pin Mems_VL53_xshut_Pin */
	GPIO_InitStruct.Pin = LED_RED_Pin | LED_GREEN_Pin | Mems_VL53_xshut_Pin;
	GPIO_InitStruct.Mode = GPIO_MODE_OUTPUT_PP;
	GPIO_InitStruct.Pull = GPIO_NOPULL;
	GPIO_InitStruct.Speed = GPIO_SPEED_FREQ_LOW;
	HAL_GPIO_Init(GPIOH, &GPIO_InitStruct);

	/*Configure GPIO pin : MIC_CCK1_Pin */
	GPIO_InitStruct.Pin = MIC_CCK1_Pin;
	GPIO_InitStruct.Mode = GPIO_MODE_AF_PP;
	GPIO_InitStruct.Pull = GPIO_NOPULL;
	GPIO_InitStruct.Speed = GPIO_SPEED_FREQ_LOW;
	GPIO_InitStruct.Alternate = GPIO_AF6_MDF1;
	HAL_GPIO_Init(MIC_CCK1_GPIO_Port, &GPIO_InitStruct);

	/*Configure GPIO pin : WRLS_WKUP_B_Pin */
	GPIO_InitStruct.Pin = WRLS_WKUP_B_Pin;
	GPIO_InitStruct.Mode = GPIO_MODE_OUTPUT_PP;
	GPIO_InitStruct.Pull = GPIO_NOPULL;
	GPIO_InitStruct.Speed = GPIO_SPEED_FREQ_LOW;
	HAL_GPIO_Init(WRLS_WKUP_B_GPIO_Port, &GPIO_InitStruct);

	/*Configure GPIO pins : WRLS_NOTIFY_Pin Mems_INT_IIS2MDC_Pin USB_IANA_Pin */
	GPIO_InitStruct.Pin = WRLS_NOTIFY_Pin | Mems_INT_IIS2MDC_Pin | USB_IANA_Pin;
	GPIO_InitStruct.Mode = GPIO_MODE_INPUT;
	GPIO_InitStruct.Pull = GPIO_NOPULL;
	HAL_GPIO_Init(GPIOD, &GPIO_InitStruct);

	/*Configure GPIO pins : USB_UCPD_FLT_Pin Mems_ISM330DLC_INT1_Pin */
	GPIO_InitStruct.Pin = USB_UCPD_FLT_Pin | Mems_ISM330DLC_INT1_Pin;
	GPIO_InitStruct.Mode = GPIO_MODE_INPUT;
	GPIO_InitStruct.Pull = GPIO_NOPULL;
	HAL_GPIO_Init(GPIOE, &GPIO_InitStruct);

	/*Configure GPIO pin : USB_VBUS_SENSE_Pin */
	GPIO_InitStruct.Pin = USB_VBUS_SENSE_Pin;
	GPIO_InitStruct.Mode = GPIO_MODE_INPUT;
	GPIO_InitStruct.Pull = GPIO_NOPULL;
	HAL_GPIO_Init(USB_VBUS_SENSE_GPIO_Port, &GPIO_InitStruct);

	/*Configure GPIO pins : Mems_STSAFE_RESET_Pin WRLS_WKUP_W_Pin */
	GPIO_InitStruct.Pin = Mems_STSAFE_RESET_Pin | WRLS_WKUP_W_Pin;
	GPIO_InitStruct.Mode = GPIO_MODE_OUTPUT_PP;
	GPIO_InitStruct.Pull = GPIO_NOPULL;
	GPIO_InitStruct.Speed = GPIO_SPEED_FREQ_LOW;
	HAL_GPIO_Init(GPIOF, &GPIO_InitStruct);

	/*Configure GPIO pin : MIC_SDIN0_Pin */
	GPIO_InitStruct.Pin = MIC_SDIN0_Pin;
	GPIO_InitStruct.Mode = GPIO_MODE_AF_PP;
	GPIO_InitStruct.Pull = GPIO_NOPULL;
	GPIO_InitStruct.Speed = GPIO_SPEED_FREQ_LOW;
	GPIO_InitStruct.Alternate = GPIO_AF6_MDF1;
	HAL_GPIO_Init(MIC_SDIN0_GPIO_Port, &GPIO_InitStruct);

	/* USER CODE BEGIN MX_GPIO_Init_2 */

	/*Re-configure GPIO pin : Mems_ISM330DLC_INT1_Pin (IMU data-ready) */
	GPIO_InitStruct.Pin = Mems_ISM330DLC_INT1_Pin;
	GPIO_InitStruct.Mode = GPIO_MODE_IT_RISING;
	GPIO_InitStruct.Pull = GPIO_NOPULL;
	HAL_GPIO_Init(Mems_ISM330DLC_INT1_GPIO_Port, &GPIO_InitStruct);

	/* USER CODE END MX_GPIO_Init_2 */
}

/* USER CODE BEGIN 4 */
void HAL_GPIO_EXTI_Rising_Callback(uint16_t GPIO_Pin) {
	if (GPIO_Pin == Mems_ISM330DLC_INT1_Pin) {
		imu_drdy_count++;
	}
}

int __io_putchar(int ch) {
	HAL_UART_Transmit(&huart1, (uint8_t*) &ch, 1, HAL_MAX_DELAY);
	return ch;
}
/* USER CODE END 4 */

void Error_Handler(void) {
	__disable_irq();
	while (1) {
	}
}
